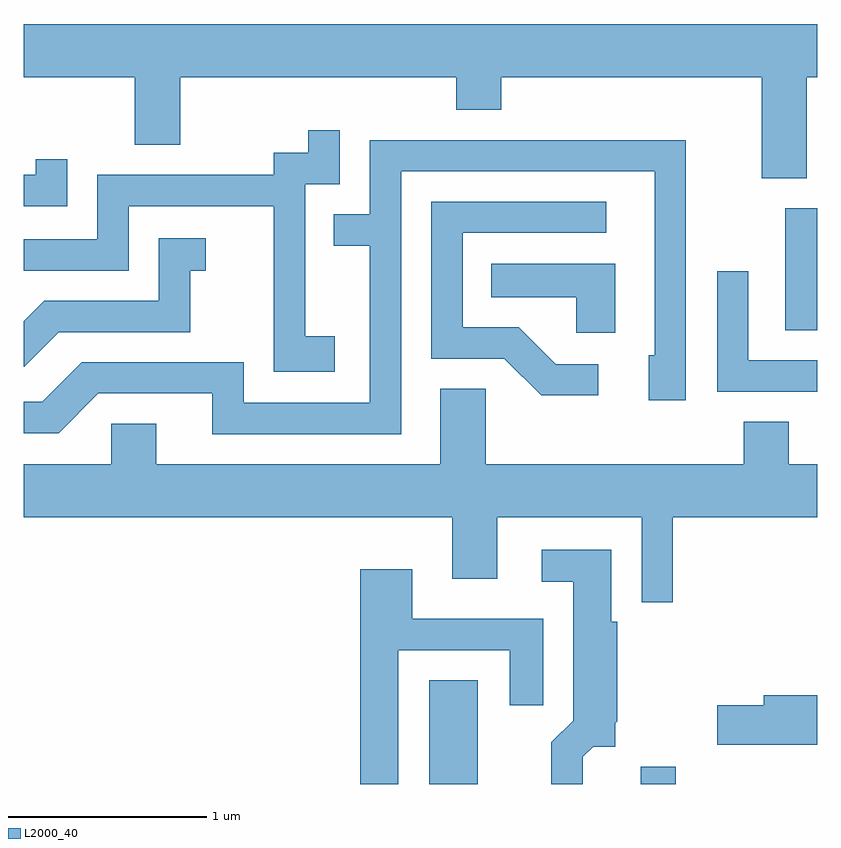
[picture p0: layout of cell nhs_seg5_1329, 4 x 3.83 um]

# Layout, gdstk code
import gdstk
lib = gdstk.Library(unit=1e-6, precision=1e-09)
def R(c, l, rs):  # rectangles x0, y0, x1, y1
    for r in rs: c.add(gdstk.rectangle(r[:2], r[2:], *l))
def P(c, l, *ps):  # polygons
    for p in ps: c.add(gdstk.Polygon(p, *l))
L2000_40 = (2000, 40)

nhs_seg5_1329 = lib.new_cell('nhs_seg5_1329')
R(nhs_seg5_1329, L2000_40, [(225.656,1502.072,225.899,1502.594), (226.721,1502.072,226.899,1502.159), (227.451,1504.361,227.611,1504.974)])
P(nhs_seg5_1329, L2000_40, [(227.559,1505.636),(227.611,1505.636),(227.611,1505.904),(223.611,1505.904),(223.611,1505.636),(224.171,1505.636),(224.171,1505.296),(224.399,1505.296),(224.399,1505.636),(225.791,1505.636),(225.791,1505.471),(226.019,1505.471),(226.019,1505.636),(227.331,1505.636),(227.331,1505.126),(227.559,1505.126)],
  [(225.179,1504.329),(225.029,1504.329),(225.029,1505.096),(225.204,1505.096),(225.204,1505.368),(225.046,1505.368),(225.046,1505.254),(224.871,1505.254),(224.871,1505.144),(223.981,1505.144),(223.981,1504.819),(223.611,1504.819),(223.611,1504.661),(224.139,1504.661),(224.139,1504.986),(224.871,1504.986),(224.871,1504.151),(225.179,1504.151)],
  [(225.514,1505.161),(226.791,1505.161),(226.791,1504.234),(226.761,1504.234),(226.761,1504.006),(226.949,1504.006),(226.949,1505.319),(225.356,1505.319),(225.356,1504.944),(225.173,1504.944),(225.173,1504.786),(225.356,1504.786),(225.356,1503.994),(224.719,1503.994),(224.719,1504.199),(223.904,1504.199),(223.704,1503.999),(223.611,1503.999),(223.611,1503.841),(223.787,1503.841),(223.987,1504.041),(224.561,1504.041),(224.561,1503.836),(225.514,1503.836)],
  [(223.829,1505.223),(223.671,1505.223),(223.671,1505.144),(223.611,1505.144),(223.611,1504.986),(223.829,1504.986)],
  [(226.508,1504.189),(226.292,1504.189),(226.107,1504.374),(225.824,1504.374),(225.824,1504.851),(226.548,1504.851),(226.548,1505.009),(225.666,1505.009),(225.666,1504.216),(226.034,1504.216),(226.219,1504.031),(226.508,1504.031)],
  [(223.787,1504.351),(224.449,1504.351),(224.449,1504.661),(224.528,1504.661),(224.528,1504.824),(224.291,1504.824),(224.291,1504.509),(223.714,1504.509),(223.611,1504.406),(223.611,1504.176),(223.612,1504.176)],
  [(226.594,1504.694),(225.968,1504.694),(225.968,1504.526),(226.396,1504.526),(226.396,1504.346),(226.594,1504.346)],
  [(227.611,1504.209),(227.264,1504.209),(227.264,1504.658),(227.106,1504.658),(227.106,1504.051),(227.611,1504.051)],
  [(226.884,1503.416),(227.611,1503.416),(227.611,1503.684),(227.469,1503.684),(227.469,1503.899),(227.241,1503.899),(227.241,1503.684),(225.939,1503.684),(225.939,1504.064),(225.711,1504.064),(225.711,1503.684),(224.279,1503.684),(224.279,1503.889),(224.051,1503.889),(224.051,1503.684),(223.611,1503.684),(223.611,1503.416),(225.771,1503.416),(225.771,1503.106),(225.999,1503.106),(225.999,1503.416),(226.726,1503.416),(226.726,1502.988),(226.884,1502.988)],
  [(226.429,1502.209),(226.482,1502.261),(226.594,1502.261),(226.594,1502.379),(226.604,1502.389),(226.604,1502.889),(226.574,1502.889),(226.574,1503.254),(226.223,1503.254),(226.223,1503.091),(226.381,1503.091),(226.381,1502.392),(226.271,1502.282),(226.271,1502.072),(226.429,1502.072)],
  [(225.499,1502.746),(226.061,1502.746),(226.061,1502.468),(226.229,1502.468),(226.229,1502.904),(225.569,1502.904),(225.569,1503.154),(225.306,1503.154),(225.306,1502.072),(225.499,1502.072)],
  [(227.611,1502.519),(227.341,1502.519),(227.341,1502.469),(227.106,1502.469),(227.106,1502.271),(227.611,1502.271)])

lib.write_gds('nhs_seg5_1329.gds')
